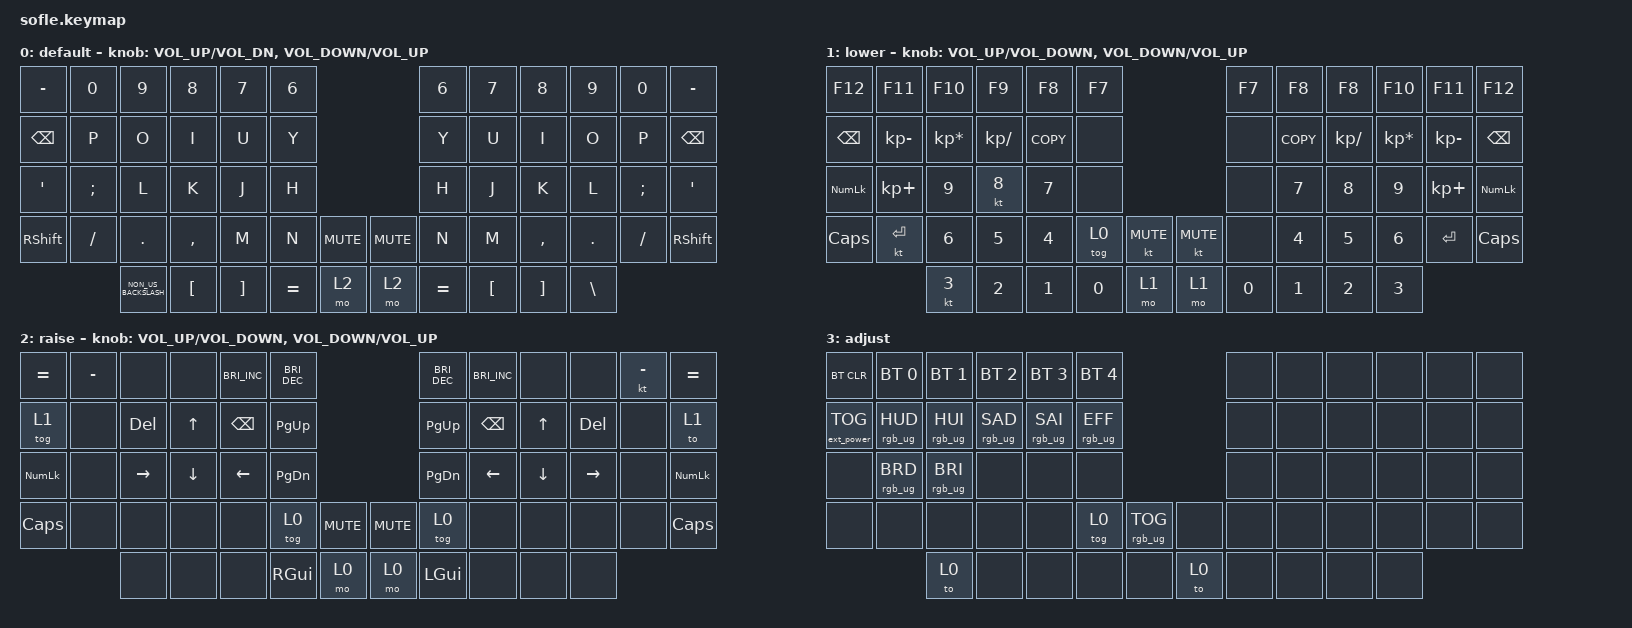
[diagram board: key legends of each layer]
/*
 * Copyright (c) 2020 The ZMK Contributors
 *
 * SPDX-License-Identifier: MIT
 */

#include <behaviors.dtsi>
#include <dt-bindings/zmk/bt.h>
#include <dt-bindings/zmk/ext_power.h>
#include <dt-bindings/zmk/keys.h>
#include <dt-bindings/zmk/rgb.h>

#define BASE 0
#define LOWER 1
#define RAISE 2
#define ADJUST 3

/ {
    // Activate ADJUST layer by pressing raise and lower

    conditional_layers {
        compatible = "zmk,conditional-layers";

        adjust_layer {
            if-layers = <LOWER RAISE>;
            then-layer = <ADJUST>;
        };
    };

    keymap {
        compatible = "zmk,keymap";

        default_layer {
            display-name = "default";

            // ------------------------------------------------------------------------------------------------------------
            // |   `   |  1  |  2  |  3   |  4   |  5   |                   |  6   |  7    |  8    |  9   |   0   |  F5   |
            // |  ESC  |  Q  |  W  |  E   |  R   |  T   |                   |  Y   |  U    |  I    |  O   |   P   | BKSPC |
            // |  TAB  |  A  |  S  |  D   |  F   |  G   |                   |  H   |  J    |  K    |  L   |   ;   |   '   |
            // | SHIFT |  Z  |  X  |  C   |  V   |  B   |  MUTE  |  |       |  N   |  M    |  ,    |  .   |   /   | SHIFT |
            //               | GUI | ALT  | CTRL | LOWER|  ENTER |  | SPACE | RAISE| CTRL  | ALT   | GUI  |

            bindings = <
&kp MINUS        &kp N0         &kp N9                &kp N8            &kp N7             &kp NUMBER_6                            &kp N6     &kp N7            &kp N8             &kp N9         &kp N0    &kp MINUS
&kp BACKSPACE    &kp P          &kp O                 &kp I             &kp U              &kp Y                                   &kp Y      &kp U             &kp I              &kp O          &kp P     &kp BACKSPACE
&kp SQT          &kp SEMICOLON  &kp L                 &kp K             &kp J              &kp H                                   &kp H      &kp J             &kp K              &kp L          &kp SEMI  &kp APOS
&kp RIGHT_SHIFT  &kp SLASH      &kp PERIOD            &kp COMMA         &kp M              &kp N         &kp K_MUTE    &kp K_MUTE  &kp N      &kp M             &kp COMMA          &kp DOT        &kp FSLH  &kp RSHFT
                                &kp NON_US_BACKSLASH  &kp LEFT_BRACKET  &kp RIGHT_BRACKET  &kp EQUAL     &mo 2         &mo 2       &kp EQUAL  &kp LEFT_BRACKET  &kp RIGHT_BRACKET  &kp BACKSLASH
            >;

            sensor-bindings =
                <&inc_dec_kp C_VOLUME_UP C_VOL_DN>,
                <&inc_dec_kp C_VOLUME_DOWN C_VOLUME_UP>;
        };

        lower_layer {
            display-name = "lower";

            // TODO: Some binds are waiting for shifted keycode support.
            // ------------------------------------------------------------------------------------------------------------
            // |       |  F1 |  F2 |  F3  |  F4  |  F5  |                   |  F6  |  F7   |  F8   |  F9  |  F10  |  F11  |
            // |   `   |  1  |  2  |  3   |  4   |  5   |                   |  6   |  7    |  8    |  9   |   0   |  F12  |
            // |       |  !  |  @  |  #   |  $   |  %   |                   |  ^   |  &    |  *    |  (   |   )   |   |   |
            // |       |  =  |  -  |  +   |  {   |  }   |        |  |       |  [   |  ]    |  ;    |  :   |   \   |       |
            //               |     |      |      |      |        |  |       |      |       |       |      |

            bindings = <
&kp F12         &kp F11       &kp F10          &kp F9        &kp F8        &kp F7                                  &kp F7  &kp F8      &kp F8         &kp F10          &kp F11       &kp F12
&kp BACKSPACE   &kp KP_MINUS  &kp KP_MULTIPLY  &kp KP_SLASH  &kp K_COPY    &none                                   &none   &kp K_COPY  &kp KP_DIVIDE  &kp KP_MULTIPLY  &kp KP_MINUS  &kp BACKSPACE
&kp KP_NUMLOCK  &kp KP_PLUS   &kp N9           &kt N8        &kp N7        &none                                   &none   &kp N7      &kp N8         &kp N9           &kp KP_PLUS   &kp KP_NUM
&kp CAPSLOCK    &kt ENTER     &kp NUMBER_6     &kp N5        &kp NUMBER_4  &tog 0        &kt K_MUTE    &kt K_MUTE  &none   &kp N4      &kp N5         &kp N6           &kp ENTER     &kp CAPS
                              &kt NUMBER_3     &kp NUMBER_2  &kp NUMBER_1  &kp NUMBER_0  &mo 1         &mo 1       &kp N0  &kp N1      &kp N2         &kp N3
            >;

            sensor-bindings =
                <&inc_dec_kp C_VOLUME_UP C_VOLUME_DOWN>,
                <&inc_dec_kp C_VOLUME_DOWN C_VOLUME_UP>;
        };

        raise_layer {
            display-name = "raise";

            // ------------------------------------------------------------------------------------------------------------
            // | BTCLR | BT1  | BT2  |  BT3  |  BT4  |  BT5 |                |      |      |       |      |       |       |
            // |       | INS  | PSCR | GUI   |       |      |                | PGUP |      |   ^   |      |       |       |
            // |       | ALT  | CTRL | SHIFT |       | CAPS |                | PGDN |   <- |   v   |  ->  |  DEL  | BKSPC |
            // |       | UNDO | CUT  | COPY  | PASTE |      |      |  |      |      |      |       |      |       |       |
            //                |      |       |       |      |      |  |      |      |      |       |      |

            bindings = <
&kp EQUAL       &kp MINUS  &none            &none           &kp C_BRIGHTNESS_INC  &kp C_BRIGHTNESS_DEC                            &kp C_BRIGHTNESS_DEC  &kp C_BRIGHTNESS_INC  &none         &none       &kt MINUS  &kp EQUAL
&tog 1          &none      &kp DELETE       &kp UP_ARROW    &kp BACKSPACE         &kp PAGE_UP                                     &kp PAGE_UP           &kp BACKSPACE         &kp UP_ARROW  &kp DELETE  &none      &to 1
&kp KP_NUMLOCK  &none      &kp RIGHT_ARROW  &kp DOWN_ARROW  &kp LEFT_ARROW        &kp PAGE_DOWN                                   &kp PAGE_DOWN         &kp LEFT              &kp DOWN      &kp RIGHT   &none      &kp KP_NUM
&kp CAPS        &none      &none            &none           &none                 &tog 0                &kp K_MUTE    &kp K_MUTE  &tog 0                &none                 &none         &none       &none      &kp CAPS
                           &none            &none           &none                 &kp RIGHT_GUI         &mo 0         &mo 0       &kp LEFT_GUI          &none                 &none         &none
            >;

            sensor-bindings =
                <&inc_dec_kp C_VOLUME_UP C_VOLUME_DOWN>,
                <&inc_dec_kp C_VOLUME_DOWN C_VOLUME_UP>;
        };

        adjust_layer {
            // ----------------------------------------------------------------------------------------------------------------------------
            // | BTCLR  |  BT1    |  BT2    |   BT3   |   BT4   |   BT5   |                  |      |      |       |      |       |       |
            // | EXTPWR | RGB_HUD | RGB_HUI | RGB_SAD | RGB_SAI | RGB_EFF |                  |      |      |       |      |       |       |
            // |        | RGB_BRD | RGB_BRI |         |         |         |                  |      |      |       |      |       |       |
            // |        |         |         |         |         |         | RGB_TOG | |      |      |      |       |      |       |       |
            //                    |         |         |         |         |         | |      |      |      |       |      |

            display-name = "adjust";
            bindings = <
&bt BT_CLR         &bt BT_SEL 0     &bt BT_SEL 1     &bt BT_SEL 2     &bt BT_SEL 3     &bt BT_SEL 4                               &none  &none  &none  &none  &none  &none
&ext_power EP_TOG  &rgb_ug RGB_HUD  &rgb_ug RGB_HUI  &rgb_ug RGB_SAD  &rgb_ug RGB_SAI  &rgb_ug RGB_EFF                            &none  &none  &none  &none  &none  &none
&none              &rgb_ug RGB_BRD  &rgb_ug RGB_BRI  &none            &none            &none                                      &none  &none  &none  &none  &none  &none
&none              &none            &none            &none            &none            &tog 0           &rgb_ug RGB_TOG    &none  &none  &none  &none  &none  &none  &none
                                    &to 0            &none            &none            &none            &none              &to 0  &none  &none  &none  &none
            >;
        };
    };
};
